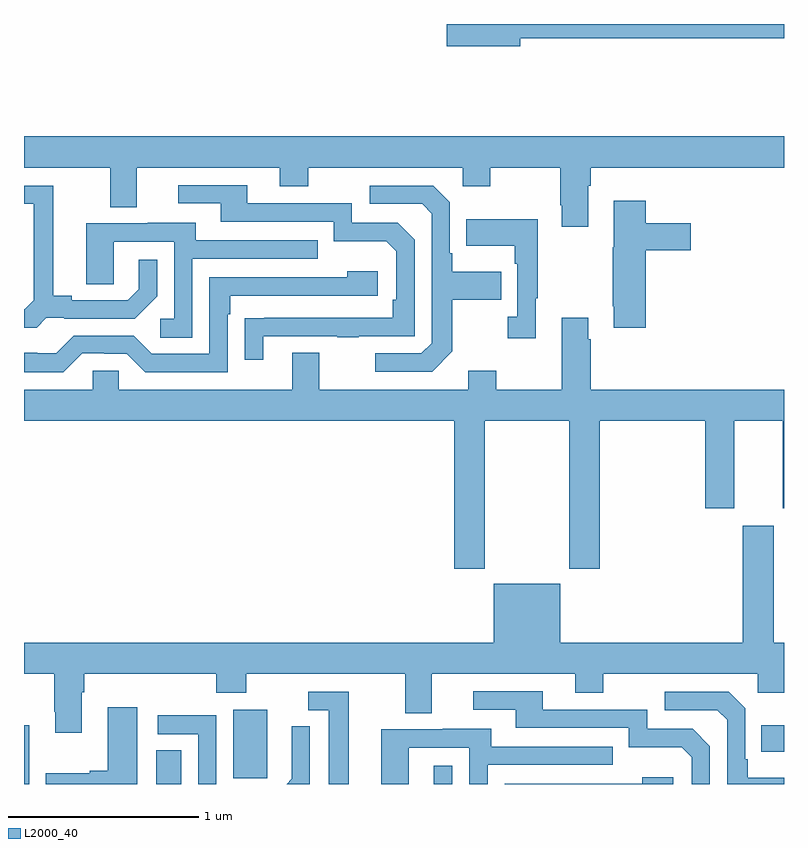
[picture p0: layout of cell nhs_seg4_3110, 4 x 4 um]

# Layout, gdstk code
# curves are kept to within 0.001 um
import gdstk
lib = gdstk.Library(unit=1e-6, precision=1e-09)
def R(c, l, rs):  # rectangles x0, y0, x1, y1
    for r in rs: c.add(gdstk.rectangle(r[:2], r[2:], *l))
def P(c, l, *ps):  # polygons
    for p in ps: c.add(gdstk.Polygon(p, *l))
L2000_40 = (2000, 40)

nhs_seg4_3110 = lib.new_cell('nhs_seg4_3110')
R(nhs_seg4_3110, L2000_40, [(275,802.9,275.028,803.209), (275.696,802.9,275.827,803.078), (277.157,802.9,277.254,802.996), (276.101,802.929,276.28,803.29), (278.881,803.069,279,803.209)])
P(nhs_seg4_3110, L2000_40, [(277.612,806.824),(279,806.824),(279,806.9),(277.224,806.9),(277.224,806.782),(277.612,806.782)],
  [(277.969,806.048),(277.982,806.048),(277.982,806.144),(279,806.144),(279,806.308),(275,806.308),(275,806.144),(275.453,806.144),(275.453,805.936),(275.593,805.936),(275.593,806.144),(276.347,806.144),(276.347,806.045),(276.495,806.045),(276.495,806.144),(277.308,806.144),(277.308,806.045),(277.455,806.045),(277.455,806.144),(277.822,806.144),(277.822,805.945),(277.829,805.945),(277.829,805.833),(277.969,805.833)],
  [(276.259,805.257),(276.649,805.257),(276.649,805.252),(276.761,805.252),(276.761,805.257),(277.056,805.257),(277.056,805.764),(276.966,805.854),(276.726,805.854),(276.726,805.956),(276.175,805.956),(276.175,806.052),(275.811,806.052),(275.811,805.956),(276.035,805.956),(276.035,805.86),(276.63,805.86),(276.63,805.757),(276.907,805.757),(276.96,805.704),(276.96,805.45),(276.94,805.45),(276.94,805.353),(276.163,805.352),(276.163,805.134),(276.259,805.134)],
  [(277.255,805.177),(277.255,805.45),(277.511,805.45),(277.511,805.597),(277.255,805.597),(277.255,805.693),(277.242,805.693),(277.242,805.962),(277.155,806.049),(276.819,806.049),(276.819,805.953),(277.095,805.953),(277.146,805.902),(277.146,805.221),(277.092,805.167),(276.849,805.167),(276.849,805.071),(277.149,805.071)],
  [(275.118,805.353),(275.212,805.353),(275.212,805.35),(275.584,805.35),(275.7,805.466),(275.7,805.66),(275.603,805.66),(275.603,805.503),(275.546,805.446),(275.251,805.446),(275.251,805.469),(275.155,805.469),(275.155,806.049),(275,806.049),(275,805.953),(275.051,805.953),(275.051,805.445),(275.004,805.398),(275,805.398),(275,805.301),(275.066,805.301)],
  [(278.273,805.709),(278.509,805.709),(278.509,805.851),(278.273,805.851),(278.273,805.969),(278.105,805.969),(278.105,805.725),(278.098,805.725),(278.098,805.414),(278.105,805.414),(278.105,805.302),(278.273,805.302)],
  [(277.693,805.457),(277.705,805.457),(277.705,805.873),(277.327,805.873),(277.327,805.733),(277.584,805.733),(277.584,805.637),(277.596,805.637),(277.596,805.358),(277.545,805.358),(277.545,805.245),(277.693,805.245)],
  [(275.886,805.665),(276.545,805.665),(276.545,805.761),(275.905,805.761),(275.905,805.855),(275.651,805.855),(275.651,805.851),(275.327,805.851),(275.327,805.531),(275.472,805.531),(275.472,805.755),(275.79,805.755),(275.79,805.35),(275.718,805.35),(275.718,805.249),(275.886,805.249)],
  [(275.307,805.167),(275.423,805.167),(275.423,805.164),(275.541,805.164),(275.637,805.068),(276.072,805.068),(276.072,805.373),(276.085,805.373),(276.085,805.47),(276.862,805.47),(276.862,805.6),(276.701,805.6),(276.701,805.566),(275.976,805.566),(275.976,805.164),(275.673,805.164),(275.577,805.26),(275.262,805.26),(275.169,805.167),(275.069,805.167),(275.069,805.171),(275,805.171),(275,805.067),(275.207,805.067)],
  [(277.425,804.812),(277.87,804.812),(277.87,804.033),(278.03,804.033),(278.03,804.812),(278.585,804.812),(278.585,804.351),(278.737,804.351),(278.737,804.812),(278.993,804.812),(278.993,804.351),(279,804.351),(279,804.976),(277.982,804.976),(277.982,805.241),(277.969,805.241),(277.969,805.354),(277.829,805.354),(277.829,804.976),(277.485,804.976),(277.485,805.075),(277.337,805.075),(277.337,804.976),(276.553,804.976),(276.553,805.171),(276.413,805.171),(276.413,804.976),(275.499,804.976),(275.499,805.074),(275.361,805.074),(275.361,804.976),(275,804.976),(275,804.812),(277.265,804.812),(277.265,804.033),(277.425,804.033)],
  [(275.305,803.384),(275.318,803.384),(275.318,803.48),(276.011,803.48),(276.011,803.381),(276.171,803.381),(276.171,803.48),(277.007,803.48),(277.007,803.272),(277.147,803.272),(277.147,803.48),(277.901,803.48),(277.901,803.381),(278.049,803.381),(278.049,803.48),(278.862,803.48),(278.862,803.381),(279,803.381),(279,803.644),(278.947,803.644),(278.947,804.259),(278.783,804.259),(278.783,803.644),(277.822,803.644),(277.822,803.953),(277.472,803.953),(277.472,803.644),(275,803.644),(275,803.48),(275.158,803.48),(275.158,803.281),(275.165,803.281),(275.165,803.169),(275.305,803.169)],
  [(278.61,803.1),(278.52,803.19),(278.28,803.19),(278.28,803.292),(277.729,803.292),(277.729,803.388),(277.365,803.388),(277.365,803.292),(277.589,803.292),(277.589,803.196),(278.184,803.196),(278.184,803.093),(278.461,803.093),(278.514,803.04),(278.514,802.9),(278.61,802.9)],
  [(276.709,803.385),(276.495,803.385),(276.495,803.289),(276.605,803.289),(276.605,802.9),(276.709,802.9)],
  [(279,802.933),(278.809,802.933),(278.809,803.029),(278.796,803.029),(278.796,803.298),(278.709,803.385),(278.373,803.385),(278.373,803.289),(278.649,803.289),(278.7,803.238),(278.7,802.9),(279,802.9)],
  [(275.596,803.305),(275.441,803.305),(275.441,802.97),(275.345,802.97),(275.345,802.957),(275.115,802.957),(275.115,802.9),(275.596,802.9)],
  [(276.012,803.262),(275.703,803.262),(275.703,803.163),(275.916,803.163),(275.916,802.9),(276.012,802.9)],
  [(276.504,803.204),(276.408,803.204),(276.408,803.05),(276.41,803.05),(276.41,802.928),(276.382,802.9),(276.504,802.9)],
  [(277.026,803.091),(277.344,803.091),(277.344,802.9),(277.44,802.9),(277.44,803.001),(278.099,803.001),(278.099,803.097),(277.459,803.097),(277.459,803.191),(277.205,803.191),(277.205,803.187),(276.881,803.187),(276.881,802.9),(277.026,802.9)],
  [(278.416,802.936),(278.255,802.936),(278.255,802.902),(277.53,802.902),(277.53,802.9),(278.416,802.9)])

lib.write_gds('nhs_seg4_3110.gds')
